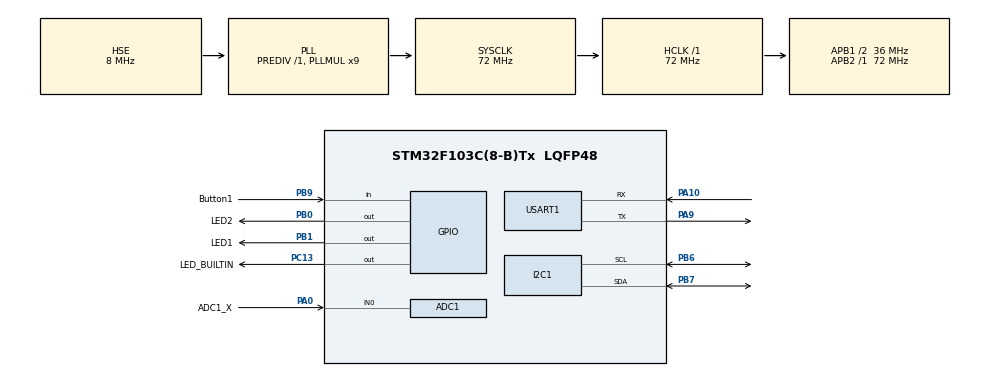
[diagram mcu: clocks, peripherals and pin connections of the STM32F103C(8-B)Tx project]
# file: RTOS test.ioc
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ADC1.Channel-0\#ChannelRegularConversion=ADC_CHANNEL_0
ADC1.NbrOfConversionFlag=1
ADC1.Rank-0\#ChannelRegularConversion=1
ADC1.SamplingTime-0\#ChannelRegularConversion=ADC_SAMPLETIME_1CYCLE_5
ADC1.master=1
FREERTOS.Tasks01=defaultTask,24,128,StartDefaultTask,Default,NULL,Dynamic,NULL,NULL;pickButtonTask,24,128,pickButton,Default,NULL,Dynamic,NULL,NULL;getADCTask,32,128,getADC,Default,NULL,Dynamic,NULL,NULL;dispLEDTask,24,128,dispLED,Default,NULL,Dynamic,NULL,NULL;dispUARTTask,24,128,dispUART,Default,NULL,Dynamic,NULL,NULL
FREERTOS.configTOTAL_HEAP_SIZE=3600
FREERTOS.configUSE_NEWLIB_REENTRANT=1
I2C1.I2C_Mode=I2C_Fast
Mcu.Family=STM32F1
Mcu.Name=STM32F103C(8-B)Tx
Mcu.Package=LQFP48
NVIC.PriorityGroup=NVIC_PRIORITYGROUP_4
NVIC.TIM4_IRQn=true\:15\:0\:false\:false\:true\:false\:false\:true\:true
NVIC.TimeBase=TIM4_IRQn
NVIC.TimeBaseIP=TIM4
PA0-WKUP.GPIO_Label=ADC1_X
PA0-WKUP.Signal=ADCx_IN0
PA10.Mode=Asynchronous
PA10.Signal=USART1_RX
PA13.Mode=Serial_Wire
PA13.Signal=SYS_JTMS-SWDIO
PA14.Mode=Serial_Wire
PA14.Signal=SYS_JTCK-SWCLK
PA9.Mode=Asynchronous
PA9.Signal=USART1_TX
PB0.GPIO_Label=LED2
PB0.Signal=GPIO_Output
PB1.GPIO_Label=LED1
PB1.Signal=GPIO_Output
PB6.Mode=I2C
PB6.Signal=I2C1_SCL
PB7.Mode=I2C
PB7.Signal=I2C1_SDA
PB9.GPIO_Label=Button1
PB9.GPIO_PuPd=GPIO_PULLUP
PB9.Signal=GPIO_Input
PC13-TAMPER-RTC.GPIO_Label=LED_BUILTIN
PC13-TAMPER-RTC.Signal=GPIO_Output
PD0-OSC_IN.Mode=HSE-External-Oscillator
PD0-OSC_IN.Signal=RCC_OSC_IN
PD1-OSC_OUT.Mode=HSE-External-Oscillator
PD1-OSC_OUT.Signal=RCC_OSC_OUT
ProjectManager.HeapSize=0x200
ProjectManager.StackSize=0x400
ProjectManager.TargetToolchain=STM32CubeIDE
RCC.ADCPresc=RCC_ADCPCLK2_DIV6
RCC.AHBFreq_Value=72000000
RCC.APB1CLKDivider=RCC_HCLK_DIV2
RCC.APB1Freq_Value=36000000
RCC.APB1TimFreq_Value=72000000
RCC.APB2Freq_Value=72000000
RCC.APB2TimFreq_Value=72000000
RCC.HCLKFreq_Value=72000000
RCC.PLLMUL=RCC_PLL_MUL9
RCC.PLLSourceVirtual=RCC_PLLSOURCE_HSE
RCC.SYSCLKFreq_VALUE=72000000
RCC.SYSCLKSource=RCC_SYSCLKSOURCE_PLLCLK
RCC.USBFreq_Value=72000000
SH.ADCx_IN0.0=ADC1_IN0,IN0
USART1.VirtualMode=VM_ASYNC
VP_FREERTOS_VS_CMSIS_V2.Mode=CMSIS_V2
VP_SYS_VS_tim4.Mode=TIM4
board=custom

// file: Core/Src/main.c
/* USER CODE BEGIN Header */
/**
  ******************************************************************************
 * main.c
 * author:  Jonathan Burkley Rodriguez <superryuboy@yahoo.com>
	for Phipp's Electronics

	SSD1306 code:
 * original author:  Tilen Majerle<tilen@majerle.eu>
 * modification for STM32f10x: Alexander Lutsai<s.lyra@ya.ru>

   ----------------------------------------------------------------------
   	Copyright (C) Alexander Lutsai, 2016
    Copyright (C) Tilen Majerle, 2015

   ----------------------------------------------------------------------

    This program is free software: you can redistribute it and/or modify
    it under the terms of the GNU General Public License as published by
    the Free Software Foundation, either version 3 of the License, or
    any later version.

    This program is distributed in the hope that it will be useful,
    but WITHOUT ANY WARRANTY; without even the implied warranty of
    MERCHANTABILITY or FITNESS FOR A PARTICULAR PURPOSE.  See the
    GNU General Public License for more details.

    You should have received a copy of the GNU General Public License
    along with this program.  If not, see <http://www.gnu.org/licenses/>.
  ******************************************************************************
  */
/* USER CODE END Header */
#include "main.h"
#include "cmsis_os.h"

/* USER CODE BEGIN Includes */
#include <stdio.h>
#include "fonts.h"
#include "ssd1306.h"
//#include "test.h"
#include "bitmap.h"
//#include "horse_anim.h"
/* USER CODE END Includes */

ADC_HandleTypeDef hadc1;

I2C_HandleTypeDef hi2c1;

UART_HandleTypeDef huart1;

/* Definitions for defaultTask */
osThreadId_t defaultTaskHandle;
const osThreadAttr_t defaultTask_attributes = {
  .name = "defaultTask",
  .stack_size = 128 * 4,
  .priority = (osPriority_t) osPriorityNormal,
};
/* Definitions for pickButtonTask */
osThreadId_t pickButtonTaskHandle;
const osThreadAttr_t pickButtonTask_attributes = {
  .name = "pickButtonTask",
  .stack_size = 128 * 4,
  .priority = (osPriority_t) osPriorityNormal,
};
/* Definitions for getADCTask */
osThreadId_t getADCTaskHandle;
const osThreadAttr_t getADCTask_attributes = {
  .name = "getADCTask",
  .stack_size = 128 * 4,
  .priority = (osPriority_t) osPriorityAboveNormal,
};
/* Definitions for dispLEDTask */
osThreadId_t dispLEDTaskHandle;
const osThreadAttr_t dispLEDTask_attributes = {
  .name = "dispLEDTask",
  .stack_size = 128 * 4,
  .priority = (osPriority_t) osPriorityNormal,
};
/* Definitions for dispUARTTask */
osThreadId_t dispUARTTaskHandle;
const osThreadAttr_t dispUARTTask_attributes = {
  .name = "dispUARTTask",
  .stack_size = 128 * 4,
  .priority = (osPriority_t) osPriorityNormal,
};
/* USER CODE BEGIN PV */
uint32_t x_val;
uint8_t choice;

volatile int button1_pressed = 0;

/* USER CODE END PV */

void SystemClock_Config(void);
static void MX_GPIO_Init(void);
static void MX_ADC1_Init(void);
static void MX_USART1_UART_Init(void);
static void MX_I2C1_Init(void);
void StartDefaultTask(void *argument);
void pickButton(void *argument);
void getADC(void *argument);
void dispLED(void *argument);
void dispUART(void *argument);

/* USER CODE BEGIN PFP */
void Menu_Display(void);
/* USER CODE END PFP */

/* USER CODE BEGIN 0 */
char buffer[20] = "_";
/* USER CODE END 0 */

int main(void)
{

  /* MCU Configuration--------------------------------------------------------*/

  /* Reset of all peripherals, Initializes the Flash interface and the Systick. */
  HAL_Init();

  /* USER CODE BEGIN Init */

	  // initialise
  /* USER CODE END Init */

  /* Configure the system clock */
  SystemClock_Config();

  /* Initialize all configured peripherals */
  MX_GPIO_Init();
  MX_ADC1_Init();
  MX_USART1_UART_Init();
  MX_I2C1_Init();
  /* USER CODE BEGIN 2 */

  SSD1306_Init();
  SSD1306_Clear();
  SSD1306_UpdateScreen();

  SSD1306_GotoXY (0,0);
  SSD1306_Puts ("HELLO", &Font_11x18, 1);
  SSD1306_GotoXY (10, 30);
  SSD1306_Puts ("  WORLD :)", &Font_11x18, 1);
  SSD1306_UpdateScreen(); //display

  HAL_Delay(2000);

  /* USER CODE END 2 */

  /* Init scheduler */
  osKernelInitialize();

  /* Create the thread(s) */
  /* creation of defaultTask */
  defaultTaskHandle = osThreadNew(StartDefaultTask, NULL, &defaultTask_attributes);

  /* creation of pickButtonTask */
  pickButtonTaskHandle = osThreadNew(pickButton, NULL, &pickButtonTask_attributes);

  /* creation of getADCTask */
  getADCTaskHandle = osThreadNew(getADC, NULL, &getADCTask_attributes);

  /* creation of dispLEDTask */
  dispLEDTaskHandle = osThreadNew(dispLED, NULL, &dispLEDTask_attributes);

  /* creation of dispUARTTask */
  dispUARTTaskHandle = osThreadNew(dispUART, NULL, &dispUARTTask_attributes);

  /* Start scheduler */
  osKernelStart();

  /* We should never get here as control is now taken by the scheduler */

  /* Infinite loop */
  while (1)
  {

  }
}

void SystemClock_Config(void)
{
  RCC_OscInitTypeDef RCC_OscInitStruct = {0};
  RCC_ClkInitTypeDef RCC_ClkInitStruct = {0};
  RCC_PeriphCLKInitTypeDef PeriphClkInit = {0};

  /** Initializes the RCC Oscillators according to the specified parameters
  * in the RCC_OscInitTypeDef structure.
  */
  RCC_OscInitStruct.OscillatorType = RCC_OSCILLATORTYPE_HSE;
  RCC_OscInitStruct.HSEState = RCC_HSE_ON;
  RCC_OscInitStruct.HSEPredivValue = RCC_HSE_PREDIV_DIV1;
  RCC_OscInitStruct.HSIState = RCC_HSI_ON;
  RCC_OscInitStruct.PLL.PLLState = RCC_PLL_ON;
  RCC_OscInitStruct.PLL.PLLSource = RCC_PLLSOURCE_HSE;
  RCC_OscInitStruct.PLL.PLLMUL = RCC_PLL_MUL9;
  if (HAL_RCC_OscConfig(&RCC_OscInitStruct) != HAL_OK)
  {
    Error_Handler();
  }

  /** Initializes the CPU, AHB and APB buses clocks
  */
  RCC_ClkInitStruct.ClockType = RCC_CLOCKTYPE_HCLK|RCC_CLOCKTYPE_SYSCLK
                              |RCC_CLOCKTYPE_PCLK1|RCC_CLOCKTYPE_PCLK2;
  RCC_ClkInitStruct.SYSCLKSource = RCC_SYSCLKSOURCE_PLLCLK;
  RCC_ClkInitStruct.AHBCLKDivider = RCC_SYSCLK_DIV1;
  RCC_ClkInitStruct.APB1CLKDivider = RCC_HCLK_DIV2;
  RCC_ClkInitStruct.APB2CLKDivider = RCC_HCLK_DIV1;

  if (HAL_RCC_ClockConfig(&RCC_ClkInitStruct, FLASH_LATENCY_2) != HAL_OK)
  {
    Error_Handler();
  }
  PeriphClkInit.PeriphClockSelection = RCC_PERIPHCLK_ADC;
  PeriphClkInit.AdcClockSelection = RCC_ADCPCLK2_DIV6;
  if (HAL_RCCEx_PeriphCLKConfig(&PeriphClkInit) != HAL_OK)
  {
    Error_Handler();
  }
}

static void MX_ADC1_Init(void)
{

  ADC_ChannelConfTypeDef sConfig = {0};

  /** Common config
  */
  hadc1.Instance = ADC1;
  hadc1.Init.ScanConvMode = ADC_SCAN_DISABLE;
  hadc1.Init.ContinuousConvMode = DISABLE;
  hadc1.Init.DiscontinuousConvMode = DISABLE;
  hadc1.Init.ExternalTrigConv = ADC_SOFTWARE_START;
  hadc1.Init.DataAlign = ADC_DATAALIGN_RIGHT;
  hadc1.Init.NbrOfConversion = 1;
  if (HAL_ADC_Init(&hadc1) != HAL_OK)
  {
    Error_Handler();
  }

  /** Configure Regular Channel
  */
  sConfig.Channel = ADC_CHANNEL_0;
  sConfig.Rank = ADC_REGULAR_RANK_1;
  sConfig.SamplingTime = ADC_SAMPLETIME_1CYCLE_5;
  if (HAL_ADC_ConfigChannel(&hadc1, &sConfig) != HAL_OK)
  {
    Error_Handler();
  }

}

static void MX_I2C1_Init(void)
{

  hi2c1.Instance = I2C1;
  hi2c1.Init.ClockSpeed = 400000;
  hi2c1.Init.DutyCycle = I2C_DUTYCYCLE_2;
  hi2c1.Init.OwnAddress1 = 0;
  hi2c1.Init.AddressingMode = I2C_ADDRESSINGMODE_7BIT;
  hi2c1.Init.DualAddressMode = I2C_DUALADDRESS_DISABLE;
  hi2c1.Init.OwnAddress2 = 0;
  hi2c1.Init.GeneralCallMode = I2C_GENERALCALL_DISABLE;
  hi2c1.Init.NoStretchMode = I2C_NOSTRETCH_DISABLE;
  if (HAL_I2C_Init(&hi2c1) != HAL_OK)
  {
    Error_Handler();
  }

}

static void MX_USART1_UART_Init(void)
{

  huart1.Instance = USART1;
  huart1.Init.BaudRate = 115200;
  huart1.Init.WordLength = UART_WORDLENGTH_8B;
  huart1.Init.StopBits = UART_STOPBITS_1;
  huart1.Init.Parity = UART_PARITY_NONE;
  huart1.Init.Mode = UART_MODE_TX_RX;
  huart1.Init.HwFlowCtl = UART_HWCONTROL_NONE;
  huart1.Init.OverSampling = UART_OVERSAMPLING_16;
  if (HAL_UART_Init(&huart1) != HAL_OK)
  {
    Error_Handler();
  }

}

static void MX_GPIO_Init(void)
{
  GPIO_InitTypeDef GPIO_InitStruct = {0};

  /* GPIO Ports Clock Enable */
  __HAL_RCC_GPIOC_CLK_ENABLE();
  __HAL_RCC_GPIOD_CLK_ENABLE();
  __HAL_RCC_GPIOA_CLK_ENABLE();
  __HAL_RCC_GPIOB_CLK_ENABLE();

  /*Configure GPIO pin Output Level */
  HAL_GPIO_WritePin(LED_BUILTIN_GPIO_Port, LED_BUILTIN_Pin, GPIO_PIN_RESET);

  /*Configure GPIO pin Output Level */
  HAL_GPIO_WritePin(GPIOB, LED2_Pin|LED1_Pin, GPIO_PIN_RESET);

  /*Configure GPIO pin : LED_BUILTIN_Pin */
  GPIO_InitStruct.Pin = LED_BUILTIN_Pin;
  GPIO_InitStruct.Mode = GPIO_MODE_OUTPUT_PP;
  GPIO_InitStruct.Pull = GPIO_NOPULL;
  GPIO_InitStruct.Speed = GPIO_SPEED_FREQ_LOW;
  HAL_GPIO_Init(LED_BUILTIN_GPIO_Port, &GPIO_InitStruct);

  /*Configure GPIO pins : LED2_Pin LED1_Pin */
  GPIO_InitStruct.Pin = LED2_Pin|LED1_Pin;
  GPIO_InitStruct.Mode = GPIO_MODE_OUTPUT_PP;
  GPIO_InitStruct.Pull = GPIO_NOPULL;
  GPIO_InitStruct.Speed = GPIO_SPEED_FREQ_LOW;
  HAL_GPIO_Init(GPIOB, &GPIO_InitStruct);

  /*Configure GPIO pin : Button1_Pin */
  GPIO_InitStruct.Pin = Button1_Pin;
  GPIO_InitStruct.Mode = GPIO_MODE_INPUT;
  GPIO_InitStruct.Pull = GPIO_PULLUP;
  HAL_GPIO_Init(Button1_GPIO_Port, &GPIO_InitStruct);

}

/* USER CODE BEGIN 4 */

void Menu_Display(void)
{
	uint8_t menu_1[] = "\r\n1. Voltage monitor read\r\n";
	uint8_t menu_2[] = "2. Re-display Menu\r\n\r\n";

	HAL_UART_Transmit(&huart1, menu_1, sizeof(menu_1), 30);
	HAL_UART_Transmit(&huart1, menu_2, sizeof(menu_2), 30);

}

/* USER CODE END 4 */

void StartDefaultTask(void *argument)
{
  for(;;)
  {
    osDelay(1);
  }
}

void pickButton(void *argument)
{
  /* USER CODE BEGIN pickButton */
  /* Infinite loop */
  for(;;)
  {

	  if(HAL_GPIO_ReadPin(Button1_GPIO_Port, Button1_Pin) == GPIO_PIN_RESET)
	  {
		  osDelay(300);	// debounce
		  button1_pressed = 1;
	  }

    osDelay(100);
  }
  /* USER CODE END pickButton */
}

void getADC(void *argument)
{
  /* USER CODE BEGIN getADC */
  /* Infinite loop */
  for(;;)
  {

	  HAL_ADC_Start(&hadc1);
	  HAL_ADC_PollForConversion(&hadc1, 10);
	  x_val = (HAL_ADC_GetValue(&hadc1));
	  HAL_ADC_Stop(&hadc1);

	  // process ADC values here

    osDelay(100);
  }
  /* USER CODE END getADC */
}

void dispLED(void *argument)
{
  /* USER CODE BEGIN dispLED */
  /* Infinite loop */
  for(;;)
  {
	  if(x_val > 4096/2){
		  HAL_GPIO_WritePin(LED1_GPIO_Port, LED1_Pin, 1);
		  HAL_GPIO_WritePin(LED2_GPIO_Port, LED2_Pin, 1);
	  }
	  else{
		  HAL_GPIO_WritePin(LED1_GPIO_Port, LED1_Pin, 0);
		  HAL_GPIO_WritePin(LED2_GPIO_Port, LED2_Pin, 0);
	  }
    osDelay(1);
  }
  /* USER CODE END dispLED */
}

void dispUART(void *argument)
{
	  /* USER CODE BEGIN UARTmenu */
	  /* Infinite loop */

		Menu_Display();

	  for(;;)
	  {
		  // select user input
		  if (HAL_UART_Receive(&huart1, &choice, sizeof(choice), 10) == HAL_OK)
		  {
			switch (choice) {

				case '1':
					//HAL_UART_Transmit(&huart1, (uint8_t*)"2 pressed\r\n", sizeof("1 pressed\r\n"), 10);
					sprintf(buffer, "Voltage = %d\r\n",x_val);
					HAL_UART_Transmit(&huart1, buffer, sizeof(buffer), 20);
					break;
				case '2':
					Menu_Display();
					break;
				default:
					break;
			}
		  }else{

		  }

		  if(button1_pressed)
		  {
			  HAL_UART_Transmit(&huart1, (uint8_t*)"Button1 pressed\r\n", sizeof("Button1 pressed\r\n"), 10);
			  button1_pressed = 0;
		  }

	    osDelay(100);
	  }
	  /* USER CODE END UARTmenu */
}

void HAL_TIM_PeriodElapsedCallback(TIM_HandleTypeDef *htim)
{
  if (htim->Instance == TIM4) {
    HAL_IncTick();
  }
}

void Error_Handler(void)
{
  __disable_irq();
  while (1)
  {
  }
}
